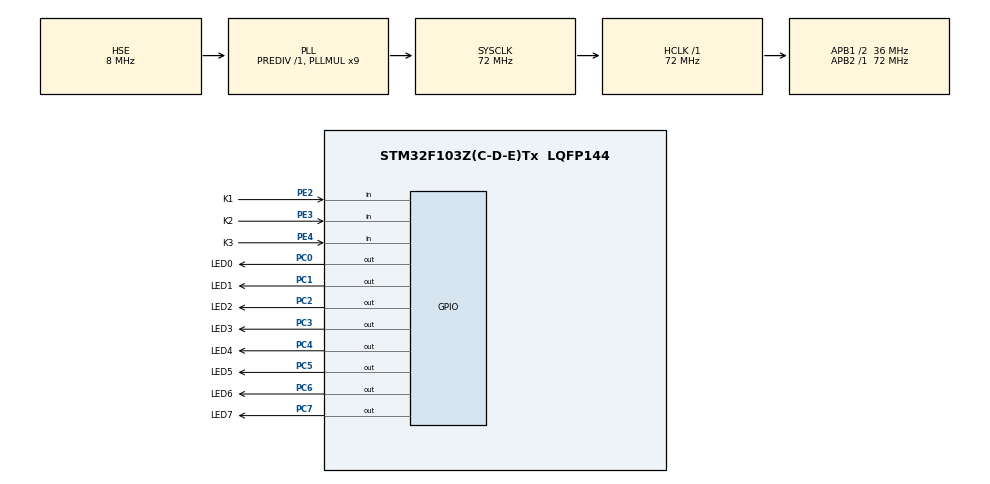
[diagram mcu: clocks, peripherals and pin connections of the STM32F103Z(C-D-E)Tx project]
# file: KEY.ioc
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Mcu.Family=STM32F1
Mcu.Name=STM32F103Z(C-D-E)Tx
Mcu.Package=LQFP144
NVIC.PriorityGroup=NVIC_PRIORITYGROUP_4
NVIC.TIM2_IRQn=true\:0\:0\:false\:false\:true\:true\:true
OSC_IN.Mode=HSE-External-Oscillator
OSC_IN.Signal=RCC_OSC_IN
OSC_OUT.Mode=HSE-External-Oscillator
OSC_OUT.Signal=RCC_OSC_OUT
PA13.Mode=Serial_Wire
PA13.Signal=SYS_JTMS-SWDIO
PA14.Mode=Serial_Wire
PA14.Signal=SYS_JTCK-SWCLK
PC0.GPIO_Label=LED0
PC0.GPIO_ModeDefaultOutputPP=GPIO_MODE_OUTPUT_PP
PC0.GPIO_PuPd=GPIO_NOPULL
PC0.GPIO_Speed=GPIO_SPEED_FREQ_LOW
PC0.PinState=GPIO_PIN_SET
PC0.Signal=GPIO_Output
PC1.GPIO_Label=LED1
PC1.GPIO_ModeDefaultOutputPP=GPIO_MODE_OUTPUT_PP
PC1.GPIO_PuPd=GPIO_NOPULL
PC1.GPIO_Speed=GPIO_SPEED_FREQ_LOW
PC1.PinState=GPIO_PIN_SET
PC1.Signal=GPIO_Output
PC2.GPIO_Label=LED2
PC2.GPIO_ModeDefaultOutputPP=GPIO_MODE_OUTPUT_PP
PC2.GPIO_PuPd=GPIO_NOPULL
PC2.GPIO_Speed=GPIO_SPEED_FREQ_LOW
PC2.PinState=GPIO_PIN_SET
PC2.Signal=GPIO_Output
PC3.GPIO_Label=LED3
PC3.GPIO_ModeDefaultOutputPP=GPIO_MODE_OUTPUT_PP
PC3.GPIO_PuPd=GPIO_NOPULL
PC3.GPIO_Speed=GPIO_SPEED_FREQ_LOW
PC3.PinState=GPIO_PIN_SET
PC3.Signal=GPIO_Output
PC4.GPIO_Label=LED4
PC4.GPIO_ModeDefaultOutputPP=GPIO_MODE_OUTPUT_PP
PC4.GPIO_PuPd=GPIO_NOPULL
PC4.GPIO_Speed=GPIO_SPEED_FREQ_LOW
PC4.PinState=GPIO_PIN_SET
PC4.Signal=GPIO_Output
PC5.GPIO_Label=LED5
PC5.GPIO_ModeDefaultOutputPP=GPIO_MODE_OUTPUT_PP
PC5.GPIO_PuPd=GPIO_NOPULL
PC5.GPIO_Speed=GPIO_SPEED_FREQ_LOW
PC5.PinState=GPIO_PIN_SET
PC5.Signal=GPIO_Output
PC6.GPIO_Label=LED6
PC6.GPIO_ModeDefaultOutputPP=GPIO_MODE_OUTPUT_PP
PC6.GPIO_PuPd=GPIO_NOPULL
PC6.GPIO_Speed=GPIO_SPEED_FREQ_LOW
PC6.PinState=GPIO_PIN_SET
PC6.Signal=GPIO_Output
PC7.GPIO_Label=LED7
PC7.GPIO_ModeDefaultOutputPP=GPIO_MODE_OUTPUT_PP
PC7.GPIO_PuPd=GPIO_NOPULL
PC7.GPIO_Speed=GPIO_SPEED_FREQ_LOW
PC7.PinState=GPIO_PIN_SET
PC7.Signal=GPIO_Output
PE2.GPIO_Label=K1
PE2.GPIO_Mode=GPIO_MODE_INPUT
PE2.GPIO_PuPd=GPIO_NOPULL
PE2.Signal=GPIO_Input
PE3.GPIO_Label=K2
PE3.GPIO_Mode=GPIO_MODE_INPUT
PE3.GPIO_PuPd=GPIO_NOPULL
PE3.Signal=GPIO_Input
PE4.GPIO_Label=K3
PE4.GPIO_Mode=GPIO_MODE_INPUT
PE4.GPIO_PuPd=GPIO_NOPULL
PE4.Signal=GPIO_Input
ProjectManager.HeapSize=0x200
ProjectManager.StackSize=0x400
ProjectManager.TargetToolchain=MDK-ARM V5.27
RCC.AHBFreq_Value=72000000
RCC.APB1CLKDivider=RCC_HCLK_DIV2
RCC.APB1Freq_Value=36000000
RCC.APB1TimFreq_Value=72000000
RCC.APB2Freq_Value=72000000
RCC.APB2TimFreq_Value=72000000
RCC.HCLKFreq_Value=72000000
RCC.PLLMUL=RCC_PLL_MUL9
RCC.PLLSourceVirtual=RCC_PLLSOURCE_HSE
RCC.SYSCLKFreq_VALUE=72000000
RCC.SYSCLKSource=RCC_SYSCLKSOURCE_PLLCLK
RCC.USBFreq_Value=72000000
TIM2.AutoReloadPreload=TIM_AUTORELOAD_PRELOAD_ENABLE
TIM2.Period=10000-1
TIM2.Prescaler=72-1
VP_TIM2_VS_ClockSourceINT.Mode=Internal
board=custom

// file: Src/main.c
/* USER CODE BEGIN Header */
/**
  ******************************************************************************
  * @file           : main.c
  * @brief          : Main program body
  ******************************************************************************
  * @attention
  *
  * <h2><center>&copy; Copyright (c) 2020 STMicroelectronics.
  * All rights reserved.</center></h2>
  *
  * This software component is licensed by ST under BSD 3-Clause license,
  * the "License"; You may not use this file except in compliance with the
  * License. You may obtain a copy of the License at:
  *                        opensource.org/licenses/BSD-3-Clause
  *
  ******************************************************************************
  */
/* USER CODE END Header */

#include "main.h"
#include "tim.h"
#include "gpio.h"

/* USER CODE BEGIN PTD */
typedef enum {
	Key_Check = 0,
	Key_Up,
	Key_Down
}KeyTypeDef;
/* USER CODE END PTD */

/* USER CODE BEGIN PV */
KeyTypeDef keyvalue = Key_Check;
uint8_t flag = 0;
/* USER CODE END PV */

void SystemClock_Config(void);

int main(void)
{

  /* MCU Configuration--------------------------------------------------------*/

  /* Reset of all peripherals, Initializes the Flash interface and the Systick. */
  HAL_Init();

  /* Configure the system clock */
  SystemClock_Config();

  /* Initialize all configured peripherals */
  MX_GPIO_Init();
  MX_TIM2_Init();
  /* USER CODE BEGIN 2 */

	HAL_TIM_Base_Start_IT(&htim2);
  /* USER CODE END 2 */

  /* Infinite loop */
  while (1)
  {

    /* USER CODE BEGIN 3 */
		if(flag == 1)
		{
			flag = 0;
			HAL_GPIO_TogglePin(LED0_GPIO_Port, LED0_Pin);
			HAL_GPIO_TogglePin(LED1_GPIO_Port, LED1_Pin);
			HAL_GPIO_TogglePin(LED2_GPIO_Port, LED2_Pin);
			HAL_GPIO_TogglePin(LED3_GPIO_Port, LED3_Pin);
			HAL_GPIO_TogglePin(LED4_GPIO_Port, LED4_Pin);
			HAL_GPIO_TogglePin(LED5_GPIO_Port, LED5_Pin);
			HAL_GPIO_TogglePin(LED6_GPIO_Port, LED6_Pin);
			HAL_GPIO_TogglePin(LED7_GPIO_Port, LED7_Pin);
		}
  }
  /* USER CODE END 3 */
}

void SystemClock_Config(void)
{
  RCC_OscInitTypeDef RCC_OscInitStruct = {0};
  RCC_ClkInitTypeDef RCC_ClkInitStruct = {0};

  /** Initializes the CPU, AHB and APB busses clocks
  */
  RCC_OscInitStruct.OscillatorType = RCC_OSCILLATORTYPE_HSE;
  RCC_OscInitStruct.HSEState = RCC_HSE_ON;
  RCC_OscInitStruct.HSEPredivValue = RCC_HSE_PREDIV_DIV1;
  RCC_OscInitStruct.HSIState = RCC_HSI_ON;
  RCC_OscInitStruct.PLL.PLLState = RCC_PLL_ON;
  RCC_OscInitStruct.PLL.PLLSource = RCC_PLLSOURCE_HSE;
  RCC_OscInitStruct.PLL.PLLMUL = RCC_PLL_MUL9;
  if (HAL_RCC_OscConfig(&RCC_OscInitStruct) != HAL_OK)
  {
    Error_Handler();
  }
  /** Initializes the CPU, AHB and APB busses clocks
  */
  RCC_ClkInitStruct.ClockType = RCC_CLOCKTYPE_HCLK|RCC_CLOCKTYPE_SYSCLK
                              |RCC_CLOCKTYPE_PCLK1|RCC_CLOCKTYPE_PCLK2;
  RCC_ClkInitStruct.SYSCLKSource = RCC_SYSCLKSOURCE_PLLCLK;
  RCC_ClkInitStruct.AHBCLKDivider = RCC_SYSCLK_DIV1;
  RCC_ClkInitStruct.APB1CLKDivider = RCC_HCLK_DIV2;
  RCC_ClkInitStruct.APB2CLKDivider = RCC_HCLK_DIV1;

  if (HAL_RCC_ClockConfig(&RCC_ClkInitStruct, FLASH_LATENCY_2) != HAL_OK)
  {
    Error_Handler();
  }
}

/* USER CODE BEGIN 4 */
void HAL_TIM_PeriodElapsedCallback(TIM_HandleTypeDef *htim)
{
	if(htim->Instance == TIM2)
	{
		switch(keyvalue)
		{
			case Key_Check:
				if(HAL_GPIO_ReadPin(K2_GPIO_Port,K2_Pin) == GPIO_PIN_RESET)
				{
					keyvalue = Key_Down;
				}
				break;
			case Key_Up:
				if(HAL_GPIO_ReadPin(K2_GPIO_Port,K2_Pin) == GPIO_PIN_SET)
				{
					keyvalue = Key_Check;
				}
				break;
			case Key_Down:
				if(HAL_GPIO_ReadPin(K2_GPIO_Port,K2_Pin) == GPIO_PIN_RESET)
				{
					keyvalue = Key_Up;
					flag = 1;
				}
				else
				{
					keyvalue = Key_Check;
				}
				break;
		}
	}
}
/* USER CODE END 4 */

void Error_Handler(void)
{
}

/************************ (C) COPYRIGHT STMicroelectronics *****END OF FILE****/
